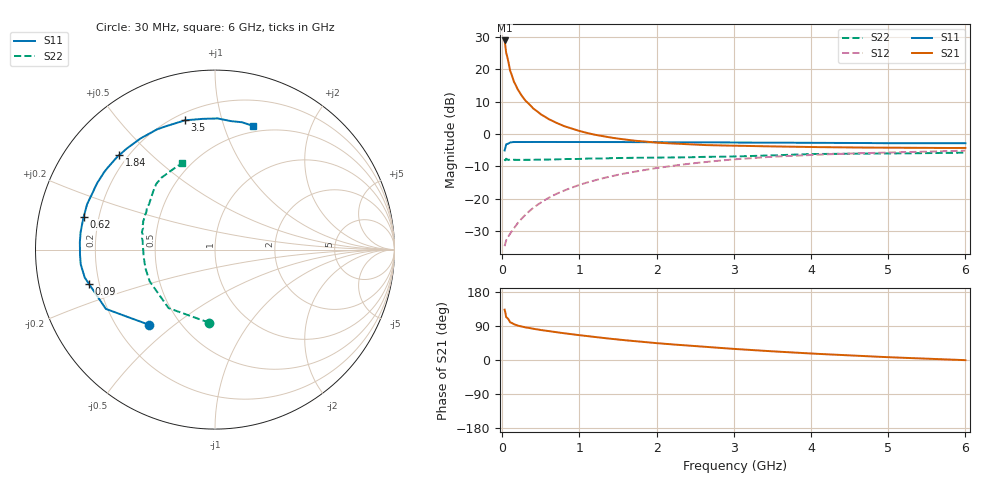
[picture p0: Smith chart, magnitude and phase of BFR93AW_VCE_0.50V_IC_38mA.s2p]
! Infineon Technologies  Discrete & RF Semiconductors
! BFR93AW
! VCE = 0.50 V,  IC =  38 mA
! Common Emitter S-Parameters:  Nov 2015
# GHz  S  MA  R  50
!  f  S11  S21  S12  S22
! GHz  MAG  ANG  MAG  ANG  MAG  ANG  MAG  ANG
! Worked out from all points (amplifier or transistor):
!   206 points, 30 MHz to 6 GHz, reference 50 ohm
!   highest |S21| = 28.9 dB at 30 MHz (marker M1)
!   |S21| within 3 dB of that: start of sweep to 46.12 MHz
!   unconditionally stable (mu >= 1): 128.1 MHz to end of sweep
!   at 200 MHz: K = 1.20, MAG = 17.9 dB, |S12| = -27.5 dB
!   at 1.56 GHz: K = 1.30, MAG = 2.1 dB, |S12| = -12.3 dB
!   at 6 GHz: K = 1.06, MAG = -1.1 dB, |S12| = -5.1 dB
!   S11 on the Smith chart (normalised r, x): 30 MHz: 0.34, -0.41; 90 MHz: 0.16, -0.13; 620 MHz: 0.14, +0.12; 1.84 GHz: 0.17, +0.40; 3.5 GHz: 0.24, +0.77; 6 GHz: 0.44, +1.25
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0.03  0.5576 -131.4  27.79 132.8  0.0186 49.4  0.4087 -94.4
0.05  0.6921 -151.5  18 113.3  0.0229 43.4  0.4162 -128.4
0.09  0.7278 -164.8  11.2 104.0  0.0276 46.0  0.4003 -148.9
0.1  0.7424 -167.9  9.583 99.7  0.0288 46.5  0.4046 -154.1
0.15  0.7528 -173.8  6.444 94.4  0.0352 51.9  0.4013 -163.8
0.2  0.7526 -178.0  4.881 90.7  0.0422 56.9  0.3993 -169.1
0.24  0.7528 179.6  4.105 88.9  0.0479 59.6  0.3992 -172.1
0.26  0.7531 178.6  3.785 87.9  0.0508 60.7  0.3993 -173.4
0.3  0.7541 176.8  3.277 86.1  0.0567 62.3  0.3993 -175.3
0.4  0.7551 172.7  2.484 82.4  0.0724 65.1  0.3997 -179.5
0.5  0.7538 169.3  2.011 79.1  0.0877 66.4  0.4024 177.4
0.62  0.754 166.0  1.66 75.7  0.1066 66.4  0.4041 174.8
0.8  0.7561 160.4  1.325 70.6  0.1338 65.8  0.4115 171.2
1.04  0.7519 154.1  1.083 64.5  0.1701 63.5  0.415 167.4
1.4  0.7534 145.2  0.885 56.1  0.2209 59.2  0.4249 162.3
1.84  0.7492 135.3  0.767 47.5  0.279 53.7  0.4302 157.4
2.02  0.7477 131.4  0.734 44.2  0.3011 51.2  0.4336 155.4
3.1  0.7383 110.1  0.657 28.0  0.4138 36.8  0.4535 142.6
3.5  0.7395 103.1  0.644 22.9  0.4467 31.8  0.4685 138.1
4.1  0.7307 94.1  0.628 16.1  0.4814 24.3  0.4924 130.8
5.1  0.7217 82.0  0.614 6.6  0.5214 14.0  0.5022 120.4
6  0.7211 73.1  0.61 -0.4  0.5531 6.1  0.5152 110.9
